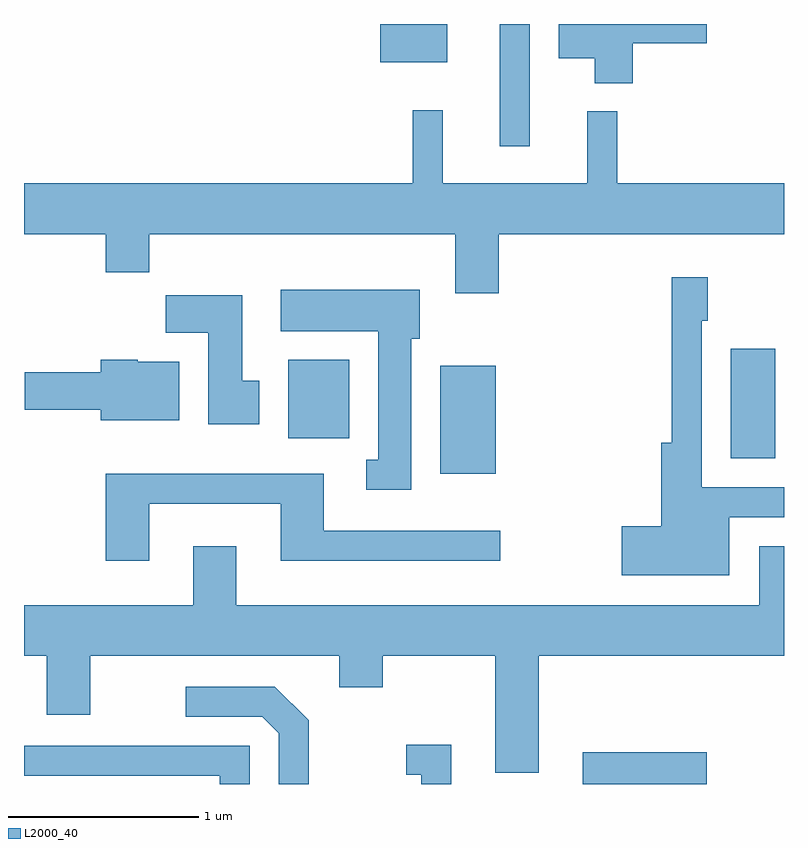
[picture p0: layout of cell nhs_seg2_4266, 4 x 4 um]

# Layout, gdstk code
import gdstk
lib = gdstk.Library(unit=1e-6, precision=1e-09)
def R(c, l, rs):  # rectangles x0, y0, x1, y1
    for r in rs: c.add(gdstk.rectangle(r[:2], r[2:], *l))
def P(c, l, *ps):  # polygons
    for p in ps: c.add(gdstk.Polygon(p, *l))
L2000_40 = (2000, 40)

nhs_seg2_4266 = lib.new_cell('nhs_seg2_4266')
R(nhs_seg2_4266, L2000_40, [(312.551,1109.802,313.204,1109.969), (311.801,1111.436,312.094,1112.004), (313.331,1111.516,313.564,1112.094), (311.001,1111.621,311.324,1112.034), (312.116,1113.158,312.274,1113.802), (311.486,1113.601,311.839,1113.802)])
P(nhs_seg2_4266, L2000_40, [(312.814,1113.701),(313.204,1113.701),(313.204,1113.802),(312.426,1113.802),(312.426,1113.621),(312.616,1113.621),(312.616,1113.491),(312.814,1113.491)],
  [(312.109,1112.696),(313.611,1112.696),(313.611,1112.964),(312.734,1112.964),(312.734,1113.343),(312.576,1113.343),(312.576,1112.964),(311.814,1112.964),(311.814,1113.348),(311.656,1113.348),(311.656,1112.964),(309.611,1112.964),(309.611,1112.696),(310.041,1112.696),(310.041,1112.496),(310.269,1112.496),(310.269,1112.696),(311.881,1112.696),(311.881,1112.386),(312.109,1112.386)],
  [(313.324,1111.206),(313.611,1111.206),(313.611,1111.364),(313.179,1111.364),(313.179,1112.241),(313.209,1112.241),(313.209,1112.469),(313.021,1112.469),(313.021,1111.599),(312.966,1111.599),(312.966,1111.159),(312.756,1111.159),(312.756,1110.901),(313.324,1110.901)],
  [(311.649,1112.146),(311.694,1112.146),(311.694,1112.404),(310.961,1112.404),(310.961,1112.186),(311.476,1112.186),(311.476,1111.509),(311.413,1111.509),(311.413,1111.351),(311.649,1111.351)],
  [(310.849,1111.924),(310.759,1111.924),(310.759,1112.374),(310.356,1112.374),(310.356,1112.176),(310.581,1112.176),(310.581,1111.696),(310.849,1111.696)],
  [(310.429,1112.024),(310.21,1112.024),(310.21,1112.034),(310.016,1112.034),(310.016,1111.969),(309.616,1111.969),(309.616,1111.771),(310.016,1111.771),(310.016,1111.716),(310.429,1111.716)],
  [(310.269,1111.276),(310.961,1111.276),(310.961,1110.976),(312.118,1110.976),(312.118,1111.134),(311.189,1111.134),(311.189,1111.434),(310.041,1111.434),(310.041,1110.976),(310.269,1110.976)],
  [(312.319,1110.476),(313.611,1110.476),(313.611,1111.054),(313.481,1111.054),(313.481,1110.744),(310.729,1110.744),(310.729,1111.054),(310.501,1111.054),(310.501,1110.744),(309.611,1110.744),(309.611,1110.476),(309.731,1110.476),(309.731,1110.166),(309.959,1110.166),(309.959,1110.476),(311.271,1110.476),(311.271,1110.311),(311.499,1110.311),(311.499,1110.476),(312.091,1110.476),(312.091,1109.861),(312.319,1109.861)],
  [(311.109,1110.137),(310.932,1110.314),(310.463,1110.314),(310.463,1110.156),(310.864,1110.156),(310.951,1110.069),(310.951,1109.802),(311.109,1109.802)],
  [(311.859,1110.009),(311.623,1110.009),(311.623,1109.851),(311.701,1109.851),(311.701,1109.802),(311.859,1109.802)],
  [(310.799,1110.004),(309.611,1110.004),(309.611,1109.846),(310.641,1109.846),(310.641,1109.802),(310.799,1109.802)])

lib.write_gds('nhs_seg2_4266.gds')
